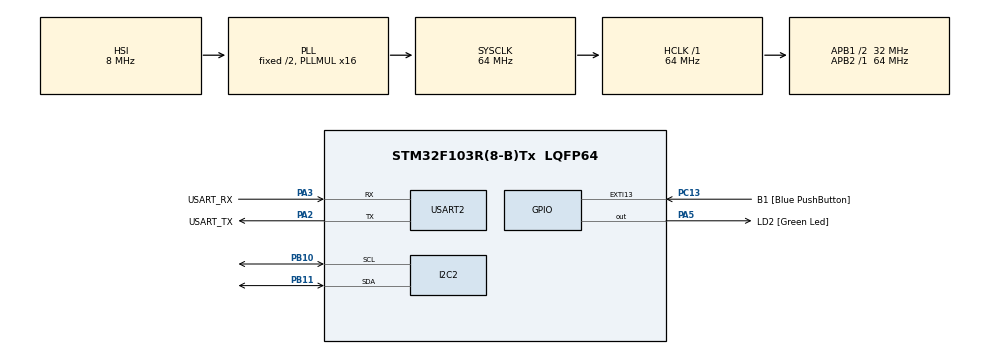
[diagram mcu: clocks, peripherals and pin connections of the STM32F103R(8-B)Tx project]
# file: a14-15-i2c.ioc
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Mcu.Family=STM32F1
Mcu.Name=STM32F103R(8-B)Tx
Mcu.Package=LQFP64
NVIC.EXTI15_10_IRQn=true\:0\:0\:false\:false\:true\:true\:true
NVIC.PriorityGroup=NVIC_PRIORITYGROUP_4
PA13.GPIO_Label=TMS
PA13.Mode=Serial_Wire
PA13.Signal=SYS_JTMS-SWDIO
PA14.GPIO_Label=TCK
PA14.Mode=Serial_Wire
PA14.Signal=SYS_JTCK-SWCLK
PA2.GPIO_Label=USART_TX
PA2.GPIO_Mode=GPIO_MODE_AF_PP
PA2.GPIO_PuPd=GPIO_NOPULL
PA2.GPIO_Speed=GPIO_SPEED_FREQ_LOW
PA2.Mode=Asynchronous
PA2.Signal=USART2_TX
PA3.GPIO_Label=USART_RX
PA3.GPIO_Mode=GPIO_MODE_AF_PP
PA3.GPIO_PuPd=GPIO_NOPULL
PA3.GPIO_Speed=GPIO_SPEED_FREQ_LOW
PA3.Mode=Asynchronous
PA3.Signal=USART2_RX
PA5.GPIO_Label=LD2 [Green Led]
PA5.GPIO_ModeDefaultOutputPP=GPIO_MODE_OUTPUT_PP
PA5.GPIO_PuPd=GPIO_NOPULL
PA5.GPIO_Speed=GPIO_SPEED_FREQ_LOW
PA5.Signal=GPIO_Output
PB10.Mode=I2C
PB10.Signal=I2C2_SCL
PB11.Mode=I2C
PB11.Signal=I2C2_SDA
PB3.GPIO_Label=SWO
PB3.Signal=SYS_JTDO-TRACESWO
PC13-TAMPER-RTC.GPIO_Label=B1 [Blue PushButton]
PC13-TAMPER-RTC.GPIO_PuPd=GPIO_NOPULL
PC13-TAMPER-RTC.Signal=GPXTI13
PC14-OSC32_IN.Mode=LSE-External-Oscillator
PC14-OSC32_IN.Signal=RCC_OSC32_IN
PC15-OSC32_OUT.Mode=LSE-External-Oscillator
PC15-OSC32_OUT.Signal=RCC_OSC32_OUT
PD0-OSC_IN.Mode=HSE-External-Clock-Source
PD0-OSC_IN.Signal=RCC_OSC_IN
PD1-OSC_OUT.Mode=HSE-External-Clock-Source
PD1-OSC_OUT.Signal=RCC_OSC_OUT
ProjectManager.HeapSize=0x200
ProjectManager.StackSize=0x400
ProjectManager.TargetToolchain=STM32CubeIDE
RCC.AHBFreq_Value=64000000
RCC.APB1CLKDivider=RCC_HCLK_DIV2
RCC.APB1Freq_Value=32000000
RCC.APB1TimFreq_Value=64000000
RCC.APB2Freq_Value=64000000
RCC.APB2TimFreq_Value=64000000
RCC.HCLKFreq_Value=64000000
RCC.PLLMUL=RCC_PLL_MUL16
RCC.RTCClockSelection=RCC_RTCCLKSOURCE_LSE
RCC.SYSCLKFreq_VALUE=64000000
RCC.SYSCLKSource=RCC_SYSCLKSOURCE_PLLCLK
RCC.USBFreq_Value=64000000
USART2.VirtualMode=VM_ASYNC
board=NUCLEO-F103RB

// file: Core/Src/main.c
/* USER CODE BEGIN Header */
/**
  ******************************************************************************
  * @file           : main.c
  * @brief          : Main program body
  ******************************************************************************
  * @attention
  *
  * <h2><center>&copy; Copyright (c) 2022 STMicroelectronics.
  * All rights reserved.</center></h2>
  *
  * This software component is licensed by ST under BSD 3-Clause license,
  * the "License"; You may not use this file except in compliance with the
  * License. You may obtain a copy of the License at:
  *                        opensource.org/licenses/BSD-3-Clause
  *
  ******************************************************************************
  */
/* USER CODE END Header */

#include "main.h"

/* USER CODE BEGIN Includes */
#include "stdio.h"

/* USER CODE END Includes */

/* USER CODE BEGIN PD */
#ifdef __GNUC__
  /* With GCC/RAISONANCE, small printf (option LD Linker->Libraries->Small printf
     set to 'Yes') calls __io_putchar() */
  #define PUTCHAR_PROTOTYPE int __io_putchar(int ch)
#else
  #define PUTCHAR_PROTOTYPE int fputc(int ch, FILE *f)
#endif /* __GNUC__ */

/* USER CODE END PD */

/* USER CODE BEGIN PM */
// commands
#define LCD_CLEARDISPLAY 0x01
#define LCD_RETURNHOME 0x02
#define LCD_ENTRYMODESET 0x04
#define LCD_DISPLAYCONTROL 0x08
#define LCD_CURSORSHIFT 0x10
#define LCD_FUNCTIONSET 0x20
#define LCD_SETCGRAMADDR 0x40
#define LCD_SETDDRAMADDR 0x80

// flags for display entry mode
#define LCD_ENTRYDDRAMINCREMENT 0x02
#define LCD_ENTRYDDRAMDECREMENT 0x00
#define LCD_ENTRYDISPLAYSHIFTLEFT 0x03
#define LCD_ENTRYDISPLAYSHIFTRIGHT 0x01

// flags for display on/off control
#define LCD_DISPLAYON 0x04
#define LCD_CURSORON 0x02
#define LCD_BLINKON 0x01

// flags for cursor / display shift
#define LCD_SHIFTCURSORLEFTDECRESE 0x00
#define LCD_SHIFTCURSORRIGHTINCRESE 0x04
#define LCD_SHIFTALLDISPLAYLEFTCURSORLEFT 0x08
#define LCD_SHIFTALLDISPLAYLEFTCURSORRIGHT 0x0C

// flags for function set
#define LCD_8BITMODE 0x10
#define LCD_4BITMODE 0x00
#define LCD_2LINE 0x08
#define LCD_1LINE 0x00
#define LCD_5x10DOTS 0x04
#define LCD_5x8DOTS 0x00

/* USER CODE END PM */

I2C_HandleTypeDef hi2c2;

UART_HandleTypeDef huart2;

/* USER CODE BEGIN PV */
uint8_t urx[16], utx[16];
uint16_t i2cAddress = 0x4e;
uint8_t _displayfunction = 0x00;
uint8_t _cursordisplayshift = 0x00;
uint8_t _displaycontrol = 0x00;
uint8_t _displaymode = 0x00;
char clcdData[32];

uint8_t Heart[] = {
  0x00, //B00000,
  0x0a, //B01010,
  0x1f, //B11111,
  0x1f, //B11111,
  0x0e, //B01110,
  0x04, //B00100,
  0x00, //B00000,
  0x00, //B00000
};

uint8_t Bell[] = {
  0x01, //B00100,
  0x01, //B01110,
  0x01, //B01110,
  0x1f, //B01110,
  0x01, //B11111,
  0x01, //B00000,
  0x01, //B00100,
  0x01, //B00000
};

uint8_t Alien[] = {
	0x04, //B11111,
	0x04, //B10101,
	0x04, //B11111,
	0x04, //B11111,
	0x04, //B01110,
	0x04, //B01010,
	0x04, //B11011,
	0x1f, //B00000
};

uint8_t Check[] = {
	0x1f, //B00000,
	0x04, //B00001,
	0x04, //B00011,
	0x04, //B10110,
	0x04, //B11100,
	0x04, //B01000,
	0x04, //B00000,
	0x04, //B00000
};

uint8_t Speaker[] = {
	0x05, //B00001,
	0x05, //B00011,
	0x05, //B01111,
	0x00, //B01111,
	0x05, //B01111,
	0x05, //B00011,
	0x05, //B00001,
	0x05, //B00000
};

uint8_t Sound[] = {
	0x11, //B00001,
	0x11, //B00011,
	0x00, //B00101,
	0x00, //B01001,
	0x11, //B01001,
	0x11, //B01011,
	0x11, //B11011,
	0x11, //B11000
};

uint8_t Skull[] = {
	0x00, //B00000,
	0x00, //B01110,
	0x00, //B10101,
	0xaa, //B11011,
	0x0a, //B01110,
	0xaa, //B01110,
	0x00, //B00000,
	0xa0, //B00000
};

uint8_t Lock[] = {
	0x00, //B01110,
	0x00, //B10001,
	0x0a, //B10001,
	0x0a, //B11111,
	0x0a, //B11011,
	0x0a, //B11011,
	0x00, //B11111,
	0x00, //B00000
};

/* USER CODE END PV */

void SystemClock_Config(void);
static void MX_GPIO_Init(void);
static void MX_USART2_UART_Init(void);
static void MX_I2C2_Init(void);

/* USER CODE BEGIN 0 */
PUTCHAR_PROTOTYPE
{
  /* Place your implementation of fputc here */
  /* e.g. write a character to the EVAL_COM1 and Loop until the end of transmission */
  HAL_UART_Transmit(&huart2, (uint8_t *)&ch, 1, 0xFFFF);

  return ch;
}

//----- character LCD ------------------------------------------------------------------
void lcd_send_cmd(char cmd)
{
	char data_u, data_l;
	uint8_t data_t[4];
	data_u = (cmd & 0xf0);
	data_l = ((cmd << 4) & 0xf0);
	data_t[0] = data_u | 0x0C;  //[3]backlight=1, [2]en=1, [1]r/w=0, [0]rs=0
	data_t[1] = data_u | 0x08;  //[3]backlight=1, [2]en=0, [1]r/w=0, [0]rs=0
	data_t[2] = data_l | 0x0C;  //[3]backlight=1, [2]en=1, [1]r/w=0, [0]rs=0
	data_t[3] = data_l | 0x08;  //[3]backlight=1, [2]en=0, [1]r/w=0, [0]rs=0
	HAL_I2C_Master_Transmit(&hi2c2, i2cAddress,(uint8_t *) data_t, 4, 100);
}

void lcd_send_data(char data)
{
	char data_u, data_l;
	uint8_t data_t[4];
	data_u = (data & 0xf0);
	data_l = ((data << 4) & 0xf0);
	data_t[0] = data_u | 0x0D;  //[3]backlight=1, [2]en=1, [1]r/w=0, [0]rs=1
	data_t[1] = data_u | 0x09;  //[3]backlight=1, [2]en=0, [1]r/w=0, [0]rs=1
	data_t[2] = data_l | 0x0D;  //[3]backlight=1, [2]en=1, [1]r/w=0, [0]rs=1
	data_t[3] = data_l | 0x09;  //[3]backlight=1, [2]en=0, [1]r/w=0, [0]rs=1
	HAL_I2C_Master_Transmit(&hi2c2, i2cAddress,(uint8_t *) data_t, 4, 100);
}

void lcd_init(void)
{
	// 4 bit initialisation
	HAL_Delay(50);  // wait for >40ms
	lcd_send_cmd(0x30);
	HAL_Delay(10);  // wait for >4.1ms
	lcd_send_cmd(0x30);
	HAL_Delay(10);  // wait for >100us
	lcd_send_cmd(0x30);
	HAL_Delay(10);
	lcd_send_cmd(0x20);  // 4bit mode
	HAL_Delay(10);

	// dislay initialisation
	_displayfunction = LCD_4BITMODE | LCD_2LINE | LCD_5x8DOTS; // Function set --> DL=0 (4 bit mode), N = 1 (2 line display) F = 0 (5x8 characters)
	lcd_send_cmd(LCD_FUNCTIONSET | _displayfunction);
	HAL_Delay(10);

	_displaymode = LCD_ENTRYDDRAMINCREMENT; //Entry mode set --> I/D = 1 (increment cursor) & S = 0 (no shift)
	lcd_send_cmd(LCD_ENTRYMODESET | _displaymode);
	HAL_Delay(10);

	_displaycontrol = LCD_DISPLAYON | LCD_CURSORON | LCD_BLINKON; //Display on/off control --> D=1, C=1, B=1
	lcd_send_cmd(LCD_DISPLAYCONTROL | _displaycontrol);
	HAL_Delay(10);

	lcd_send_cmd(LCD_CLEARDISPLAY); // clear display
	HAL_Delay(100);
}

void lcd_send_string(char *str)
{
	while (*str) lcd_send_data(*str++);
}

void lcd_clear(void)
{
	lcd_send_cmd(LCD_CLEARDISPLAY);
}

void lcd_home(void)
{
	lcd_send_cmd(LCD_RETURNHOME);
}

void lcd_setCursor(uint8_t row, uint8_t col)
{
	if(((row >= 0) && (row <= 1)) && ((col >= 0) && (col < 16))){
		if(row == 0){
			lcd_send_cmd(LCD_SETDDRAMADDR | (0x00 + col));
		}else if(row == 1){
			lcd_send_cmd(LCD_SETDDRAMADDR | (0x40 + col));
		}
	}
}

void lcd_characterDatainput(void) // a~z data
{
	  //printf("%c\r\n",clcdData[0]);

	  lcd_send_data(clcdData[0]);
	  if('z' == clcdData[0]){
		  clcdData[0] = 'a';
	  }else{
		  clcdData[0] += 1;
	  }
}

void lcd_createSpecialCharacter(uint8_t location, uint8_t charmap[]) {
	location &= 0x7; 				// we only have 8 locations 0-7
	lcd_send_cmd(LCD_SETCGRAMADDR | (location << 3));
	for (int i = 0; i < 8; i++) {
		lcd_send_data(charmap[i]);
	}
}

//----- LCD_ENTRYMODESET : inc/dec DDRAM address, shift of entire display
void lcd_incrementDDRAM(void) // cmd : d
{
	_displaymode = LCD_ENTRYDDRAMINCREMENT;	//0x02
	lcd_send_cmd(LCD_ENTRYMODESET | _displaymode);
}

void lcd_decrementDDRAM(void) // cmd : e
{
	//----- 코드 추�? -----
	_displaymode = LCD_ENTRYDDRAMDECREMENT;	//0x02
	lcd_send_cmd(LCD_ENTRYMODESET | _displaymode);
}

void lcd_shiftEntiredisplayLeft(void)  // cmd : f
{
	//----- 코드 추�? -----
	_displaymode = LCD_ENTRYDISPLAYSHIFTLEFT;	//0x02
	lcd_send_cmd(LCD_ENTRYMODESET | _displaymode);
}

void lcd_shiftEntiredisplayRight(void) // cmd : g
{
	//----- 코드 추�? -----
	_displaymode = LCD_ENTRYDISPLAYSHIFTRIGHT;	//0x02
	lcd_send_cmd(LCD_ENTRYMODESET | _displaymode);
}
//----- LCD_ENTRYMODESET : inc/dec DDRAM address, shift of entire display

//----- LCD_DISPLAYCONTROL : display on/off cursor, blink -----
void lcd_display(void) // cmd : m
{
	_displaycontrol |= LCD_DISPLAYON; // 0x04
	lcd_send_cmd(LCD_DISPLAYCONTROL | _displaycontrol);
}

void lcd_nodisplay(void) // cmd : n
{
	_displaycontrol &= (0xFF ^ LCD_DISPLAYON);
	lcd_send_cmd(LCD_DISPLAYCONTROL | _displaycontrol);
}

void lcd_cursor(void) // cmd : o
{
	//----- 코드 추�? -----
	_displaycontrol |= LCD_CURSORON; // 0x04
	lcd_send_cmd(LCD_DISPLAYCONTROL | _displaycontrol);
}

void lcd_nocursor(void) // cmd : p
{
	//----- 코드 추�? -----
	_displaycontrol &= (0xFF ^ LCD_CURSORON);
	lcd_send_cmd(LCD_DISPLAYCONTROL | _displaycontrol);
}

void lcd_blink(void) // cmd : q
{
	//----- 코드 추�? -----
	_displaycontrol |= LCD_BLINKON; // 0x04
	lcd_send_cmd(LCD_DISPLAYCONTROL | _displaycontrol);
}

void lcd_noblink(void) // cmd : r
{
	//----- 코드 추�? -----
	_displaycontrol &= (0xFF ^ LCD_BLINKON);
	lcd_send_cmd(LCD_DISPLAYCONTROL | _displaycontrol);
}
//----- LCD_DISPLAYCONTROL : display on/off cursor, blink -----

//----- LCD_CURSORSHIFT : cursor & dispaly shift -----
void lcd_shiftCursorLeft(void) // cmd : s
{
	_cursordisplayshift = LCD_SHIFTCURSORLEFTDECRESE ; // 0x00
	lcd_send_cmd(LCD_CURSORSHIFT | _cursordisplayshift);
}

void lcd_shiftCursorRight(void) // cmd : t
{
	//----- 코드 추�? -----
	_cursordisplayshift = LCD_SHIFTCURSORRIGHTINCRESE ; // 0x00
	lcd_send_cmd(LCD_CURSORSHIFT | _cursordisplayshift);
}

void lcd_shiftAllDisplayLeft(void) // cmd : u
{
	//----- 코드 추�? -----
	_cursordisplayshift = LCD_SHIFTALLDISPLAYLEFTCURSORLEFT ; // 0x00
	lcd_send_cmd(LCD_CURSORSHIFT | _cursordisplayshift);
}

void lcd_shiftAllDisplayRight(void) // cmd : v
{
	//----- 코드 추�? -----
	_cursordisplayshift = LCD_SHIFTALLDISPLAYLEFTCURSORRIGHT ; // 0x00
	lcd_send_cmd(LCD_CURSORSHIFT | _cursordisplayshift);
}
//----- LCD_CURSORSHIFT : cursor & dispaly shift -----

void lcd_address_search(void)
{
	HAL_StatusTypeDef i2cstatus;

	for(uint16_t i = 0; i < 128; i++){
		i2cstatus = HAL_I2C_IsDeviceReady(&hi2c2, i << 1, 1, 10);
		if(HAL_OK == i2cstatus){
		  printf("OK addr=0x%02x\r\n",(i << 1));
		  //break;
		}else{
		  //printf("err addr=0x%02x\r\n",(i << 1));
		}
	}
	printf("lcd_address_search\r\n");
}

//----- character LCD ------------------------------------------------------------------

/* USER CODE END 0 */

int main(void)
{
  /* USER CODE BEGIN 1 */

	HAL_StatusTypeDef uart2status;

  /* USER CODE END 1 */

  /* MCU Configuration--------------------------------------------------------*/

  /* Reset of all peripherals, Initializes the Flash interface and the Systick. */
  HAL_Init();

  /* Configure the system clock */
  SystemClock_Config();

  /* Initialize all configured peripherals */
  MX_GPIO_Init();
  MX_USART2_UART_Init();
  MX_I2C2_Init();
  /* USER CODE BEGIN 2 */

  printf("---character LCD(i2c) test---\r\n");

  HAL_Delay(10);
  lcd_init();
  HAL_Delay(20);
  sprintf(clcdData,"lys");
  lcd_send_string(clcdData);
  HAL_Delay(20);
  clcdData[0] = 'a';

  /* USER CODE END 2 */

  /* Infinite loop */
  while (1)
  {

    /* USER CODE BEGIN 3 */

	  uart2status = HAL_UART_Receive(&huart2, urx, 1, 300);
	  if(HAL_OK == uart2status){
		  printf("*%c*\r\n",urx[0]);
		  switch(urx[0]){
		  case '1':
			  lcd_address_search();
			  break;
		  case 'c':
			  lcd_clear();
			  break;
		  case 'h':
			  lcd_home();
			  break;
		  case 'i':
			  lcd_init();
			  sprintf(clcdData,"lys");
			  lcd_send_string(clcdData);
			  clcdData[0] = 'a';
			  break;
		  case 'a':
			  lcd_setCursor(0, 0);
			  break;
		  case 'b':
			  lcd_setCursor(1, 0);
			  break;
		  case 'k':
			  lcd_characterDatainput();
			  break;
		  //----- LCD_ENTRYMODESET : inc/dec DDRAM address, shift of entire display
		  case 'd':
			  lcd_incrementDDRAM();
			  break;
		  case 'e':
			  lcd_decrementDDRAM();
			  break;
		  case 'f':
			  lcd_shiftEntiredisplayLeft();
			  break;
		  case 'g':
			  lcd_shiftEntiredisplayRight();
			  break;
		  //----- LCD_ENTRYMODESET : inc/dec DDRAM address, shift of entire display
		  //----- LCD_DISPLAYCONTROL : display on/off cursor, blink -----
		  case 'm':
			  lcd_display();
			  break;
		  case 'n':
			  lcd_nodisplay();
			  break;
		  case 'o':
			  lcd_cursor();
			  break;
		  case 'p':
			  lcd_nocursor();
			  break;
		  case 'q':
			  lcd_blink();
			  break;
		  case 'r':
			  lcd_noblink();
			  break;
		  //----- LCD_DISPLAYCONTROL : display on/off cursor, blink -----
		  //----- LCD_CURSORSHIFT : cursor & dispaly shift -----
		  case 's':
			  lcd_shiftCursorLeft();
			  break;
		  case 't':
			  lcd_shiftCursorRight();
			  break;
		  case 'u':
			  lcd_shiftAllDisplayLeft();
			  break;
		  case 'v':
			  lcd_shiftAllDisplayRight();
			  break;
		  //----- LCD_CURSORSHIFT : cursor & dispaly shift -----
		  //----- special character -----
		  case 'x':
			  lcd_createSpecialCharacter(0, Heart);
			  lcd_createSpecialCharacter(1, Bell);
			  lcd_createSpecialCharacter(2, Alien);
			  lcd_createSpecialCharacter(3, Check);
			  lcd_createSpecialCharacter(4, Speaker);
			  lcd_createSpecialCharacter(5, Sound);
			  lcd_createSpecialCharacter(6, Skull);
			  lcd_createSpecialCharacter(7, Lock);
			  break;
		  case 'y':
			  lcd_setCursor(1, 0); lcd_send_data(0);
			  lcd_setCursor(1, 1); lcd_send_data(1);
			  lcd_setCursor(1, 2); lcd_send_data(2);
			  lcd_setCursor(1, 3); lcd_send_data(3);
			  lcd_setCursor(1, 4); lcd_send_data(4);
			  lcd_setCursor(1, 5); lcd_send_data(5);
			  lcd_setCursor(1, 6); lcd_send_data(6);
			  lcd_setCursor(1, 7); lcd_send_data(7);
			  break;
			  //----- special character -----
		  default:
			  break;
		  }
	  }

	  //pc13pin = HAL_GPIO_ReadPin(GPIOC, GPIO_PIN_13);
   	  //if(GPIO_PIN_RESET == pc13pin){
   	  //}

	  HAL_Delay(100);
	  HAL_GPIO_TogglePin(GPIOA, GPIO_PIN_5);

  }
  /*     szUSER CODE END 3 */
}

void SystemClock_Config(void)
{
  RCC_OscInitTypeDef RCC_OscInitStruct = {0};
  RCC_ClkInitTypeDef RCC_ClkInitStruct = {0};

  /** Initializes the CPU, AHB and APB busses clocks
  */
  RCC_OscInitStruct.OscillatorType = RCC_OSCILLATORTYPE_HSI;
  RCC_OscInitStruct.HSIState = RCC_HSI_ON;
  RCC_OscInitStruct.HSICalibrationValue = RCC_HSICALIBRATION_DEFAULT;
  RCC_OscInitStruct.PLL.PLLState = RCC_PLL_ON;
  RCC_OscInitStruct.PLL.PLLSource = RCC_PLLSOURCE_HSI_DIV2;
  RCC_OscInitStruct.PLL.PLLMUL = RCC_PLL_MUL16;
  if (HAL_RCC_OscConfig(&RCC_OscInitStruct) != HAL_OK)
  {
    Error_Handler();
  }
  /** Initializes the CPU, AHB and APB busses clocks
  */
  RCC_ClkInitStruct.ClockType = RCC_CLOCKTYPE_HCLK|RCC_CLOCKTYPE_SYSCLK
                              |RCC_CLOCKTYPE_PCLK1|RCC_CLOCKTYPE_PCLK2;
  RCC_ClkInitStruct.SYSCLKSource = RCC_SYSCLKSOURCE_PLLCLK;
  RCC_ClkInitStruct.AHBCLKDivider = RCC_SYSCLK_DIV1;
  RCC_ClkInitStruct.APB1CLKDivider = RCC_HCLK_DIV2;
  RCC_ClkInitStruct.APB2CLKDivider = RCC_HCLK_DIV1;

  if (HAL_RCC_ClockConfig(&RCC_ClkInitStruct, FLASH_LATENCY_2) != HAL_OK)
  {
    Error_Handler();
  }
}

static void MX_I2C2_Init(void)
{

  hi2c2.Instance = I2C2;
  hi2c2.Init.ClockSpeed = 100000;
  hi2c2.Init.DutyCycle = I2C_DUTYCYCLE_2;
  hi2c2.Init.OwnAddress1 = 0;
  hi2c2.Init.AddressingMode = I2C_ADDRESSINGMODE_7BIT;
  hi2c2.Init.DualAddressMode = I2C_DUALADDRESS_DISABLE;
  hi2c2.Init.OwnAddress2 = 0;
  hi2c2.Init.GeneralCallMode = I2C_GENERALCALL_DISABLE;
  hi2c2.Init.NoStretchMode = I2C_NOSTRETCH_DISABLE;
  if (HAL_I2C_Init(&hi2c2) != HAL_OK)
  {
    Error_Handler();
  }

}

static void MX_USART2_UART_Init(void)
{

  huart2.Instance = USART2;
  huart2.Init.BaudRate = 115200;
  huart2.Init.WordLength = UART_WORDLENGTH_8B;
  huart2.Init.StopBits = UART_STOPBITS_1;
  huart2.Init.Parity = UART_PARITY_NONE;
  huart2.Init.Mode = UART_MODE_TX_RX;
  huart2.Init.HwFlowCtl = UART_HWCONTROL_NONE;
  huart2.Init.OverSampling = UART_OVERSAMPLING_16;
  if (HAL_UART_Init(&huart2) != HAL_OK)
  {
    Error_Handler();
  }

}

static void MX_GPIO_Init(void)
{
  GPIO_InitTypeDef GPIO_InitStruct = {0};

  /* GPIO Ports Clock Enable */
  __HAL_RCC_GPIOC_CLK_ENABLE();
  __HAL_RCC_GPIOD_CLK_ENABLE();
  __HAL_RCC_GPIOA_CLK_ENABLE();
  __HAL_RCC_GPIOB_CLK_ENABLE();

  /*Configure GPIO pin Output Level */
  HAL_GPIO_WritePin(LD2_GPIO_Port, LD2_Pin, GPIO_PIN_RESET);

  /*Configure GPIO pin : B1_Pin */
  GPIO_InitStruct.Pin = B1_Pin;
  GPIO_InitStruct.Mode = GPIO_MODE_IT_RISING;
  GPIO_InitStruct.Pull = GPIO_NOPULL;
  HAL_GPIO_Init(B1_GPIO_Port, &GPIO_InitStruct);

  /*Configure GPIO pin : LD2_Pin */
  GPIO_InitStruct.Pin = LD2_Pin;
  GPIO_InitStruct.Mode = GPIO_MODE_OUTPUT_PP;
  GPIO_InitStruct.Pull = GPIO_NOPULL;
  GPIO_InitStruct.Speed = GPIO_SPEED_FREQ_LOW;
  HAL_GPIO_Init(LD2_GPIO_Port, &GPIO_InitStruct);

  /* EXTI interrupt init*/
  HAL_NVIC_SetPriority(EXTI15_10_IRQn, 0, 0);
  HAL_NVIC_EnableIRQ(EXTI15_10_IRQn);

}

void Error_Handler(void)
{
}

/************************ (C) COPYRIGHT STMicroelectronics *****END OF FILE****/
